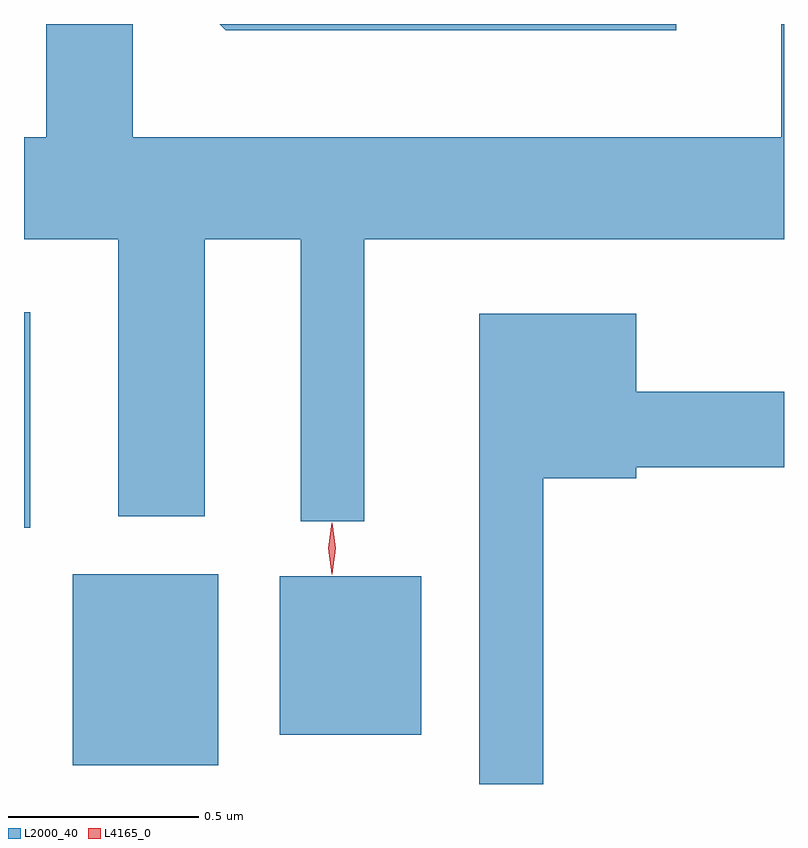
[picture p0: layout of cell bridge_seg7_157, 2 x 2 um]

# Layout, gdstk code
import gdstk
lib = gdstk.Library(unit=1e-6, precision=1e-09)
def R(c, l, rs):  # rectangles x0, y0, x1, y1
    for r in rs: c.add(gdstk.rectangle(r[:2], r[2:], *l))
def P(c, l, *ps):  # polygons
    for p in ps: c.add(gdstk.Polygon(p, *l))
L2000_40 = (2000, 40)
L4165_0 = (4165, 0)

bridge_seg7_157 = lib.new_cell('bridge_seg7_157')
R(bridge_seg7_157, L2000_40, [(1655.901,1730.691,1656.284,1731.194), (1656.446,1730.771,1656.819,1731.189), (1655.773,1731.316,1655.789,1731.884)])
P(bridge_seg7_157, L2000_40, [(1656.669,1732.076),(1657.773,1732.076),(1657.773,1732.642),(1657.766,1732.642),(1657.766,1732.344),(1656.059,1732.344),(1656.059,1732.642),(1655.831,1732.642),(1655.831,1732.344),(1655.773,1732.344),(1655.773,1732.076),(1656.021,1732.076),(1656.021,1731.346),(1656.249,1731.346),(1656.249,1732.076),(1656.501,1732.076),(1656.501,1731.333),(1656.669,1731.333)],
  [(1657.489,1732.642),(1656.288,1732.642),(1656.304,1732.626),(1657.489,1732.626)],
  [(1657.139,1731.446),(1657.384,1731.446),(1657.384,1731.476),(1657.773,1731.476),(1657.773,1731.674),(1657.384,1731.674),(1657.384,1731.879),(1656.971,1731.879),(1656.971,1730.642),(1657.139,1730.642)])
P(bridge_seg7_157, L4165_0, [(1656.583,1731.194),(1656.583,1731.194),(1656.573,1731.262),(1656.583,1731.33),(1656.583,1731.33),(1656.584,1731.33),(1656.593,1731.262),(1656.584,1731.194)],
  [(1656.583,1731.198),(1656.583,1731.198),(1656.573,1731.262),(1656.583,1731.327),(1656.583,1731.327),(1656.584,1731.327),(1656.593,1731.262),(1656.584,1731.198)])

lib.write_gds('bridge_seg7_157.gds')
